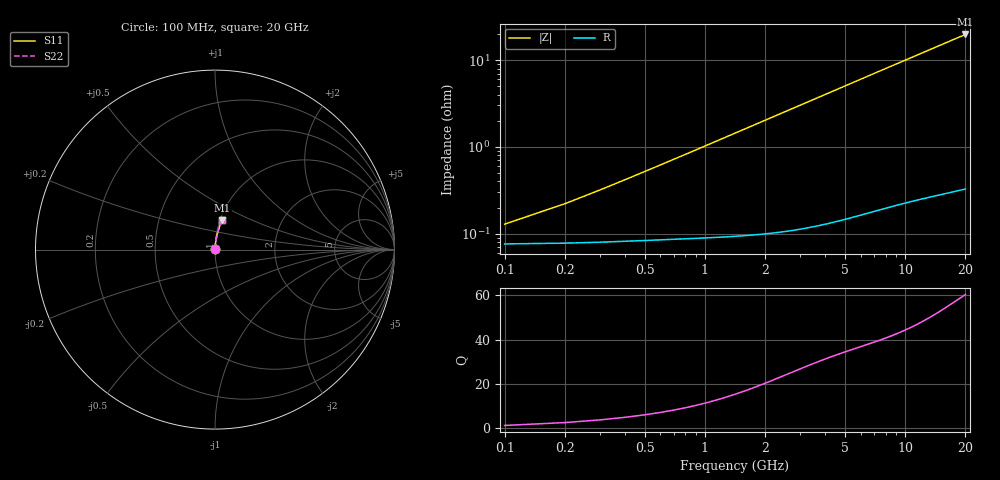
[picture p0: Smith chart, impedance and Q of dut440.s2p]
! Touchstone file exported from HFSS 2026.1.0
!  File:  C:/ffzhzh/LocalFiles/Ansys_Project_Files/temp_train_BSMRDL_440_1783013086_55676.aedt
!  Generated:  01:26:14 AM Jul  3, 2026
!  Design:  BSMRDL
!  Project:  temp_train_BSMRDL_440_1783013086_55676
! Variables:
!  h_bsmrdl = 4.63um
!  h_ox = 20um
!  h_rdl = 5um
!  h_sub = 80um
!  h_tmrdl = 5um
!  h_tsv = 80um
!  h_via = 3um
!  l_bsmrdl = 111.17um
!  l_sub = 511.17um
!  l_tmrdl = 200um
!  m_sub = 200um
!  pitch = 57.37um
!  r_tsv = 6um
!  s_tmrdl = 10um
!  w_bsmrdl = 13.48um
!  w_sub = 500um
!  w_tmrdl = 12um
!  x_tsv_center1 = 206um
!  x_tsv_center2 = 330.65um
!  x_tsv_center3 = 542.65um
!  x_tsv_center4 = 667.3um
!  x_tsv_center5 = 879.3um
!  x_tsv_center6 = 1003.95um
# GHz S MA R 50.000000
! Terminal data exported
! Port[1] = BSM_RDL1_1_T1
! Port[2] = BSM_RDL1_1_T2
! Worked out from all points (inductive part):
!   200 points, 100 MHz to 20 GHz, reference 50 ohm
!   read as one part in series: L = 164 pH near 300 MHz
!   highest Q = 60.3 at 20 GHz (marker M1), where L = 157 pH
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0.1  0.00118 49.8  0.9992 -0.1  0.9992 -0.1  0.00118 49.8
! Gamma 0 0 0 0
! Port Impedance 50 0 50 0
0.2  0.001958 66.5  0.9992 -0.1  0.9992 -0.1  0.001958 66.5
0.3  0.002798 73.2  0.9992 -0.2  0.9992 -0.2  0.002798 73.2
0.4  0.003652 76.8  0.9992 -0.3  0.9992 -0.3  0.003652 76.8
0.5  0.004511 79.0  0.9992 -0.3  0.9992 -0.3  0.004511 79.0
0.7  0.006236 81.6  0.9991 -0.5  0.9991 -0.5  0.006236 81.6
0.8  0.0071 82.4  0.9991 -0.5  0.9991 -0.5  0.0071 82.4
1  0.008832 83.6  0.9991 -0.7  0.9991 -0.7  0.008832 83.6
1.2  0.01057 84.3  0.999 -0.8  0.999 -0.8  0.01057 84.3
1.4  0.0123 84.8  0.999 -0.9  0.999 -0.9  0.0123 84.8
1.7  0.01491 85.2  0.9989 -1.1  0.9989 -1.1  0.01491 85.2
2  0.01752 85.4  0.9989 -1.3  0.9989 -1.3  0.01752 85.4
2.7  0.02358 85.6  0.9986 -1.8  0.9986 -1.8  0.02358 85.6
3.5  0.0305 85.4  0.9983 -2.3  0.9983 -2.3  0.0305 85.4
4.2  0.03652 85.2  0.998 -2.8  0.998 -2.8  0.03652 85.2
5  0.04337 84.8  0.9976 -3.3  0.9976 -3.3  0.04337 84.8
6.8  0.05866 83.8  0.9965 -4.4  0.9965 -4.4  0.05866 83.8
8.3  0.07129 83.0  0.9955 -5.4  0.9955 -5.4  0.07129 83.0
10.1  0.08634 82.0  0.994 -6.5  0.994 -6.5  0.08634 82.0
13.4  0.1136 80.0  0.9909 -8.6  0.9909 -8.6  0.1136 80.0
16.7  0.1406 78.1  0.9871 -10.7  0.9871 -10.7  0.1406 78.1
20  0.167 76.1  0.9827 -12.8  0.9827 -12.8  0.167 76.1
